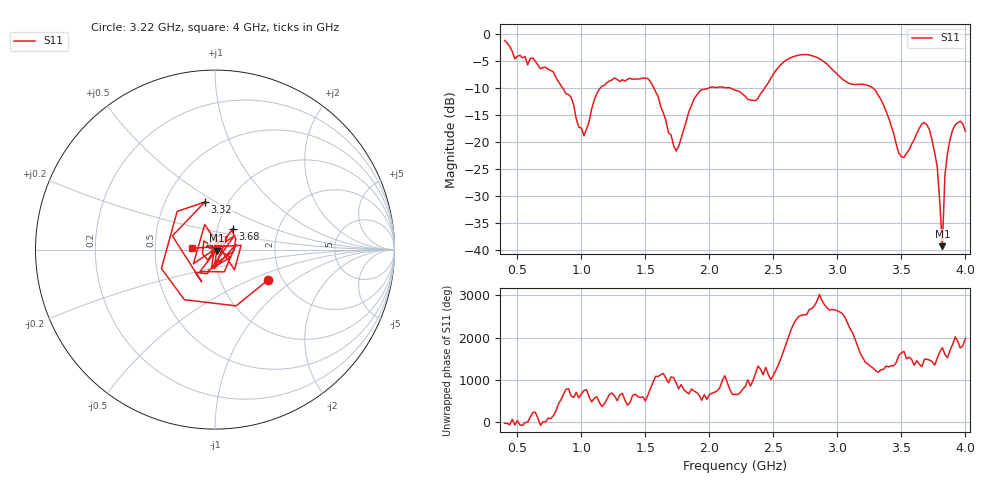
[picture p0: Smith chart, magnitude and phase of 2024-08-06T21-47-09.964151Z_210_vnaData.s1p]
!Created with skrf (http://scikit-rf.org).
# Hz S RI R 50.0
!freq ReS11 ImS11
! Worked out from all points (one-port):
!   181 points, 400 MHz to 4 GHz, reference 50 ohm
!   lowest |S11| = -39.3 dB at 3.82 GHz (marker M1), VSWR 1.02, Z = 50.8 - j0.696 ohm
!   |S11| at or under -10 dB: 855.1 MHz to 1.146 GHz (291.3 MHz wide, 29.1 % of centre); 1.567 GHz to 1.991 GHz (424.1 MHz wide, 23.8 % of centre); 3.28 GHz to end of sweep (the widest 3 of 4)
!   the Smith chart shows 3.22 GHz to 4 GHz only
!   S11 on the Smith chart (normalised r, x): 3.22 GHz: 1.68, -0.65; 3.32 GHz: 0.78, +0.45; 3.68 GHz: 1.18, +0.28; 4 GHz: 0.78, +0.01
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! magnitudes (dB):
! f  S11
! 400 MHz  -1.1
! 480 MHz  -4.6
! 620 MHz  -4.4
! 860 MHz  -10.2
! 1.02 GHz  -18.8
! 1.14 GHz  -10.2
! 1.3 GHz  -8.7
! 1.52 GHz  -8.2
! 1.72 GHz  -20.6
! 1.76 GHz  -20.8
! 1.92 GHz  -10.7
! 2.2 GHz  -10.4
! 2.36 GHz  -12.3
! 2.66 GHz  -4.1
! 2.84 GHz  -4.3
! 3.1 GHz  -9.2
! 3.22 GHz  -9.4
! 3.32 GHz  -11.3
! 3.48 GHz  -22.1
! 3.56 GHz  -21.5
! 3.68 GHz  -16.4
! 3.72 GHz  -17.7
! 3.78 GHz  -24.6
! 3.82 GHz  -39.3
! 3.84 GHz  -26.2
! 3.88 GHz  -19.5
! 3.96 GHz  -16.1
! 4 GHz  -18.0
